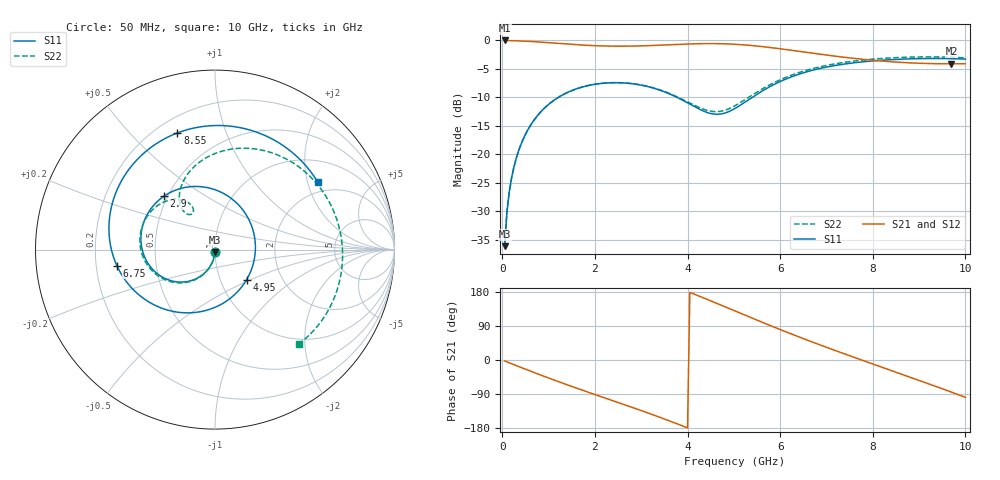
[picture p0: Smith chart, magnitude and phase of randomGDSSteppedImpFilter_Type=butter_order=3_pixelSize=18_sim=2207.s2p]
! freq	dB(S11)	phase(S11)	dB(S12)	phase(S12)
!  dB(S21)	phase(S21)	dB(S22)	phase(S22)
!S-par simulation data
#  GHz  S  DB  R 50
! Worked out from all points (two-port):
!   200 points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, 50 MHz to 10 GHz, reference 50 ohm
!   highest |S21| = 0.00 dB at 50 MHz (marker M1); lowest = -4.1 dB at 9.7 GHz (marker M2)
!   |S21| within 3 dB of the highest: start of sweep to 7.43 GHz
!   lowest |S11| = -36.1 dB at 50 MHz (marker M3), VSWR 1.03, Z = 49.9 - j1.55 ohm
!   |S11| at or under -10 dB: start of sweep to 1.211 GHz; 3.772 GHz to 5.395 GHz (1.623 GHz wide, 35.4 % of centre)
!   |S22| runs from -36.1 to -2.9 dB; largest |S21 - S12| = 0
!   S11 on the Smith chart (normalised r, x): 50 MHz: 1.00, -0.03; 2.9 GHz: 0.48, +0.34; 4.95 GHz: 1.33, -0.48; 6.75 GHz: 0.29, -0.07; 8.55 GHz: 0.28, +0.69; 10 GHz: 1.63, +2.32
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0.05  -36.14 -92.5  -0.00 -2.5  -0.00 -2.5  -36.15 -92.4
0.1  -30.14 -95.2  -0.01 -4.9  -0.01 -4.9  -30.14 -95.1
0.2  -24.18 -100.3  -0.03 -9.8  -0.03 -9.8  -24.18 -100.1
0.5  -16.50 -115.2  -0.13 -24.2  -0.13 -24.2  -16.50 -114.6
1.1  -10.60 -143.5  -0.46 -52.1  -0.46 -52.1  -10.60 -142.0
1.75  -8.13 -173.0  -0.82 -80.5  -0.82 -80.5  -8.13 -169.4
2.3  -7.45 162.3  -0.99 -103.7  -0.99 -103.7  -7.44 169.0
2.9  -7.71 133.6  -0.98 -129.1  -0.98 -129.1  -7.70 147.2
3.4  -8.73 106.0  -0.84 -151.1  -0.84 -151.1  -8.68 131.1
4.2  -11.85 44.5  -0.58 171.1  -0.58 171.1  -11.59 117.9
4.95  -12.28 -43.7  -0.64 133.2  -0.64 133.2  -11.78 128.7
5.05  -11.83 -54.8  -0.69 128.1  -0.69 128.1  -11.35 129.3
5.4  -9.97 -88.2  -0.90 110.3  -0.90 110.3  -9.58 126.4
5.8  -8.02 -117.8  -1.26 90.2  -1.26 90.2  -7.70 116.1
6.7  -5.23 -168.3  -2.24 47.2  -2.24 47.2  -4.95 81.2
6.75  -5.13 -170.7  -2.30 44.9  -2.30 44.9  -4.85 79.1
7.5  -4.02 154.7  -3.07 11.3  -3.07 11.3  -3.72 47.1
8.35  -3.40 117.0  -3.72 -25.6  -3.72 -25.6  -3.09 11.9
8.55  -3.31 107.9  -3.83 -34.2  -3.83 -34.2  -3.01 4.0
9.15  -3.18 79.4  -4.04 -60.2  -4.04 -60.2  -2.90 -18.8
9.7  -3.20 50.8  -4.11 -84.7  -4.11 -84.7  -2.96 -38.2
10  -3.28 33.5  -4.10 -98.6  -4.10 -98.6  -3.06 -48.3
